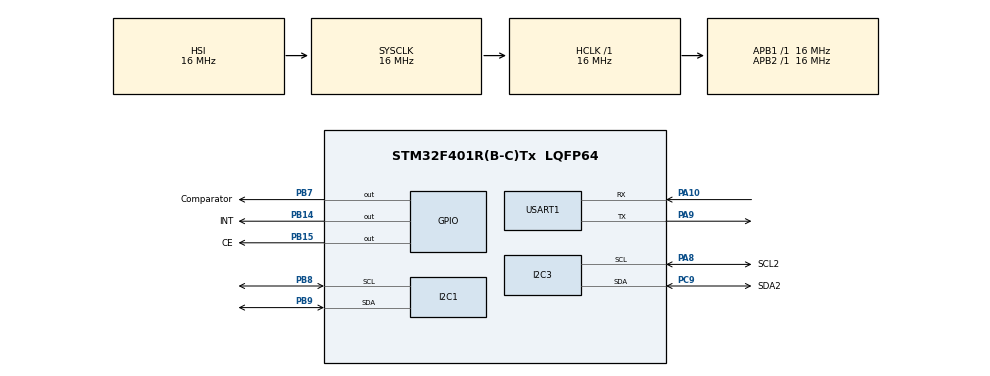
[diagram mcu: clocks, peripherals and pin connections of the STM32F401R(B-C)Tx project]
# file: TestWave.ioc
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Mcu.Family=STM32F4
Mcu.Name=STM32F401R(B-C)Tx
Mcu.Package=LQFP64
NVIC.PriorityGroup=NVIC_PRIORITYGROUP_4
NVIC.USART1_IRQn=true\:0\:0\:false\:false\:true\:true\:true
PA10.Mode=Asynchronous
PA10.Signal=USART1_RX
PA13.Signal=SYS_JTMS-SWDIO
PA14.Signal=SYS_JTCK-SWCLK
PA8.GPIO_Label=SCL2
PA8.Mode=I2C
PA8.Signal=I2C3_SCL
PA9.Mode=Asynchronous
PA9.Signal=USART1_TX
PB14.GPIO_Label=INT
PB14.Signal=GPIO_Output
PB15.GPIO_Label=CE
PB15.Signal=GPIO_Output
PB7.GPIO_Label=Comparator
PB7.Signal=GPIO_Output
PB8.Mode=I2C
PB8.Signal=I2C1_SCL
PB9.Mode=I2C
PB9.Signal=I2C1_SDA
PC14-OSC32_IN.Mode=LSE-External-Clock-Source
PC14-OSC32_IN.Signal=RCC_OSC32_IN
PC15-OSC32_OUT.Mode=LSE-External-Clock-Source
PC15-OSC32_OUT.Signal=RCC_OSC32_OUT
PC9.GPIO_Label=SDA2
PC9.Mode=I2C
PC9.Signal=I2C3_SDA
PH0\ -\ OSC_IN.Mode=HSE-External-Clock-Source
PH0\ -\ OSC_IN.Signal=RCC_OSC_IN
PH1\ -\ OSC_OUT.Mode=HSE-External-Clock-Source
PH1\ -\ OSC_OUT.Signal=RCC_OSC_OUT
ProjectManager.HeapSize=0x200
ProjectManager.StackSize=0x400
ProjectManager.TargetToolchain=Other Toolchains (GPDSC)
RCC.AHBFreq_Value=16000000
RCC.APB1Freq_Value=16000000
RCC.APB2Freq_Value=16000000
RCC.CortexFreq_Value=16000000
RCC.HSE_VALUE=25000000
RCC.HSI_VALUE=16000000
RCC.LSE_VALUE=32768
RCC.SYSCLKFreq_VALUE=16000000
RCC.VCOOutputFreq_Value=192000000
USART1.VirtualMode=VM_ASYNC
board=custom

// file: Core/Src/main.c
/* USER CODE BEGIN Header */
/**
  ******************************************************************************
  * @file           : main.c
  * @brief          : Main program body
  ******************************************************************************
  * @attention
  *
  * <h2><center>&copy; Copyright (c) 2022 STMicroelectronics.
  * All rights reserved.</center></h2>
  *
  * This software component is licensed by ST under BSD 3-Clause license,
  * the "License"; You may not use this file except in compliance with the
  * License. You may obtain a copy of the License at:
  *                        opensource.org/licenses/BSD-3-Clause
  *
  ******************************************************************************
  */
/* USER CODE END Header */
#include "main.h"
#include "i2c.h"
#include "usart.h"
#include "gpio.h"

/* USER CODE BEGIN Includes */
#include <string.h>
#include "command.h"
#include "ADS1115.h"
/* USER CODE END Includes */

/* USER CODE BEGIN PV */
extern uint8_t Command_Index;
extern uint8_t Command_List[10][128];

uint16_t config_set = 0x0583;
DataRate dr = RATE_128;
OPREATION_MODE mode = SS_MODE;
PGA pga = FSR_2d048;
MUX mux = DIFF01;
/* USER CODE END PV */

void SystemClock_Config(void);

int main(void)
{

  /* MCU Configuration--------------------------------------------------------*/

  /* Reset of all peripherals, Initializes the Flash interface and the Systick. */
  HAL_Init();

  /* Configure the system clock */
  SystemClock_Config();

  /* Initialize all configured peripherals */
  MX_GPIO_Init();
  MX_I2C3_Init();
  MX_USART1_UART_Init();
  MX_I2C1_Init();
  /* USER CODE BEGIN 2 */
	Command_Init();
  /* USER CODE END 2 */

  /* Infinite loop */
  while (1)
  {

    /* USER CODE BEGIN 3 */
	  if (Command_Index != 0)
	  {
		  Command_Excute(&Command_List[0][0]);
		  Command_Index = 0;
	  }
  }
  /* USER CODE END 3 */
}

void SystemClock_Config(void)
{
  RCC_OscInitTypeDef RCC_OscInitStruct = {0};
  RCC_ClkInitTypeDef RCC_ClkInitStruct = {0};

  /** Configure the main internal regulator output voltage
  */
  __HAL_RCC_PWR_CLK_ENABLE();
  __HAL_PWR_VOLTAGESCALING_CONFIG(PWR_REGULATOR_VOLTAGE_SCALE2);
  /** Initializes the RCC Oscillators according to the specified parameters
  * in the RCC_OscInitTypeDef structure.
  */
  RCC_OscInitStruct.OscillatorType = RCC_OSCILLATORTYPE_HSI;
  RCC_OscInitStruct.HSIState = RCC_HSI_ON;
  RCC_OscInitStruct.HSICalibrationValue = RCC_HSICALIBRATION_DEFAULT;
  RCC_OscInitStruct.PLL.PLLState = RCC_PLL_NONE;
  if (HAL_RCC_OscConfig(&RCC_OscInitStruct) != HAL_OK)
  {
    Error_Handler();
  }
  /** Initializes the CPU, AHB and APB buses clocks
  */
  RCC_ClkInitStruct.ClockType = RCC_CLOCKTYPE_HCLK|RCC_CLOCKTYPE_SYSCLK
                              |RCC_CLOCKTYPE_PCLK1|RCC_CLOCKTYPE_PCLK2;
  RCC_ClkInitStruct.SYSCLKSource = RCC_SYSCLKSOURCE_HSI;
  RCC_ClkInitStruct.AHBCLKDivider = RCC_SYSCLK_DIV1;
  RCC_ClkInitStruct.APB1CLKDivider = RCC_HCLK_DIV1;
  RCC_ClkInitStruct.APB2CLKDivider = RCC_HCLK_DIV1;

  if (HAL_RCC_ClockConfig(&RCC_ClkInitStruct, FLASH_LATENCY_0) != HAL_OK)
  {
    Error_Handler();
  }
}

/* USER CODE BEGIN 4 */
void Func_div(uint8_t* command)
{
	uint8_t value = strtol(command + 20, '\0', 10);

	// fast refresh
	if (strcmp(command + 10, "_defaut") == 0)
	{
		dr = RATE_128;
		mode = SS_MODE;
		pga = FSR_2d048;
		mux = DIFF01;
		config_set |= (dr << 5);
		config_set |= (mode << 8);
		config_set |= (pga << 9);
		config_set |= (mux << 12);
		ADSConfig(config_set);
	}
	// change data rate
	else if (strcmp(command + 10, "_DR") == 0)
	{
		dr = value;
		config_set |= (dr << 5);
		ADSConfig(config_set);
	}
	// change oprating mode
	else if (strcmp(command + 10, "_MODE") == 0)
	{
		mode = value;
		config_set |= (mode << 8);
		ADSConfig(config_set);
	}
	// change Gain Amplifier
	else if(strcmp(command + 10, "_PGA") == 0)
	{
		pga = value;
		config_set |= (pga << 9);
		ADSConfig(config_set);
	}
	// change multiplexer configuration
	else if(strcmp(command + 10, "_MUX") == 0)
	{
		mux = value;
		config_set |= (mux << 12);
		ADSConfig(config_set);
	}
	else
	{
		printf("Argument incorrect\r\n");
		printf("format is like \"config _DR 4\" ");
	}

}

void Func_trig(uint8_t* command)
{
	double gain = 0;
	double data;
	if (pga == FSR_d256)
		gain = 0.256;
	else if (pga == FSR_d512)
		gain = 0.512;
	else if (pga == FSR_1d024)
		gain = 1.024;
	else if (pga == FSR_2d048)
		gain = 2.048;
	else if (pga == FSR_4d096)
		gain = 4.096;
	else if (pga == FSR_6d144)
		gain = 6.144;
	else
	{
		gain = 2.048;
	}

	uint8_t value = strtol(command + 20,'\0', 10);
	if (strcmp(command + 10, "_defaut") == 0)
	{
		for (int i = 0; i != 1024; i++) {
			ADSReadADC(&data);
			printf("input data%d is %f\r\n", i, data);
		}
	}
	putchar0('\n');
	HAL_Delay(8000);

}

/* USER CODE END 4 */

void Error_Handler(void)
{
  __disable_irq();
  while (1)
  {
  }
}

/************************ (C) COPYRIGHT STMicroelectronics *****END OF FILE****/
